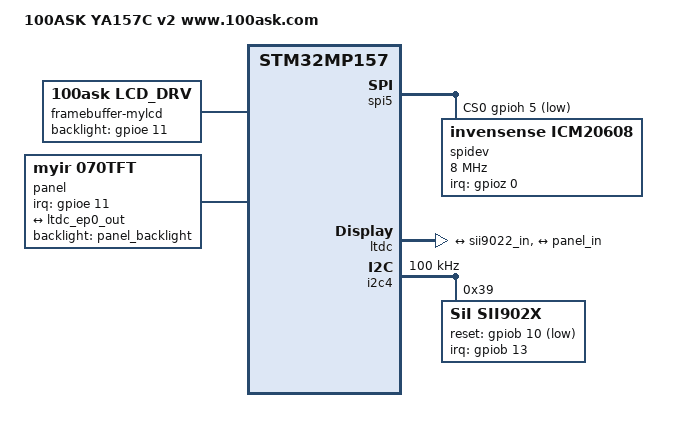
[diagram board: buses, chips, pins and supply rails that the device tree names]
// SPDX-License-Identifier: (GPL-2.0+ OR BSD-3-Clause)
/*
* Copyright (C) 100ASK 2020 - All Rights Reserved
* Author: 100ask
* support: weidongshan@qq.com 
*/

/dts-v1/;

#include "stm32mp157c-100ask-512d-v1.dts"

/ {
        model = "100ASK YA157C v2 www.100ask.com";
        compatible = "st,stm32mp157c-100ask-512d-v1", "st,stm32mp157";
		

	framebuffer-mylcd {
			compatible = "100ask,lcd_drv";
			pinctrl-names = "default";
			pinctrl-0 = <&ltdc_pins_a>;
			backlight-gpios = <&gpioe 11 GPIO_ACTIVE_HIGH>;
	};
		
		
	/*LCD Panel*/
	panel {
		compatible = "myir,070tft";
        	interrupts = <11 IRQ_TYPE_EDGE_FALLING>;
        	interrupt-parent = <&gpioe>;
        	pinctrl-names = "default", "sleep";
        	pinctrl-0 = <&ltdc_pins_a>;
        	pinctrl-1 = <&ltdc_pins_sleep_a>;
        	//reset-gpios = <&gpioe 12 GPIO_ACTIVE_LOW>;

		backlight = <&panel_backlight>;
       	 	status = "okay";
		
		port {
			panel_in: endpoint {
				remote-endpoint = <&ltdc_ep0_out>;			
			};
	
		};
	};
};

&spi5 {
        pinctrl-names = "default", "sleep";
        pinctrl-0 = <&spi5_pins_a>;
        pinctrl-1 = <&spi5_sleep_pins_a>;
        status = "okay";
        cs-gpios = <&gpioh 5 GPIO_ACTIVE_LOW>;
        spidev: icm20608@0{
                compatible = "invensense,icm20608";
                interrupts = <0 IRQ_TYPE_EDGE_FALLING>;
                interrupt-parent = <&gpioz>;
                spi-max-frequency = <8000000>;
                reg = <0>;
        };
};

/* test HDMI*/
&ltdc {
    status = "okay";
    port {
       #address-cells = <1>;
       #size-cells = <0>;

	ltdc_ep1_out: endpoint@1 {
       		reg = <1>;
        	remote-endpoint = <&sii9022_in>;
        };
   };
};


/*HDMI*/
&i2c4 {
        clock-frequency = <100000>;
       hdmi-transmitter@40 { // use a dummy device
                compatible = "sil,sii9022";
                reg = <0x40>;
                reset-gpios = <&gpiob 10 GPIO_ACTIVE_LOW>;
                interrupts = <13 IRQ_TYPE_EDGE_FALLING>;
                interrupt-parent = <&gpiob>;
                //pinctrl-names = "default", "sleep";
                //pinctrl-0 = <&ltdc_pins_a>;
                //pinctrl-1 = <&ltdc_pins_sleep_a>;
                status = "disabled";

                ports {
                        #address-cells = <1>;
                        #size-cells = <0>;

                        port@0 {
                                reg = <0>;
                                sii9022_in: endpoint {
                                        remote-endpoint = <&ltdc_ep1_out>;
                                };
                        };

                };
        };

#if 1
	sii902x: sii902x@39 {
              compatible = "SiI,sii902x";
              reset-gpios = <&gpiob 10 GPIO_ACTIVE_LOW>;
              //pinctrl-names = "default";
              //pinctrl-0 = <&pinctrl_sii902x>;
              interrupts = <13 IRQ_TYPE_EDGE_FALLING>;
              interrupt-parent = <&gpiob>;
              mode_str ="1280x720M@60";
              bits-per-pixel = <16>;
              reg = <0x39>;
              status = "okay";

	};
#endif
};

&i2s2 {
	status = "disable";

};

/*test LCD*/
&ltdc {
        status = "okay";

        port {
                #address-cells = <1>;
                #size-cells = <0>;

                ltdc_ep0_out: endpoint@0 {
                                reg = <0>;
                                remote-endpoint = <&panel_in>;
                                };
           };
};


